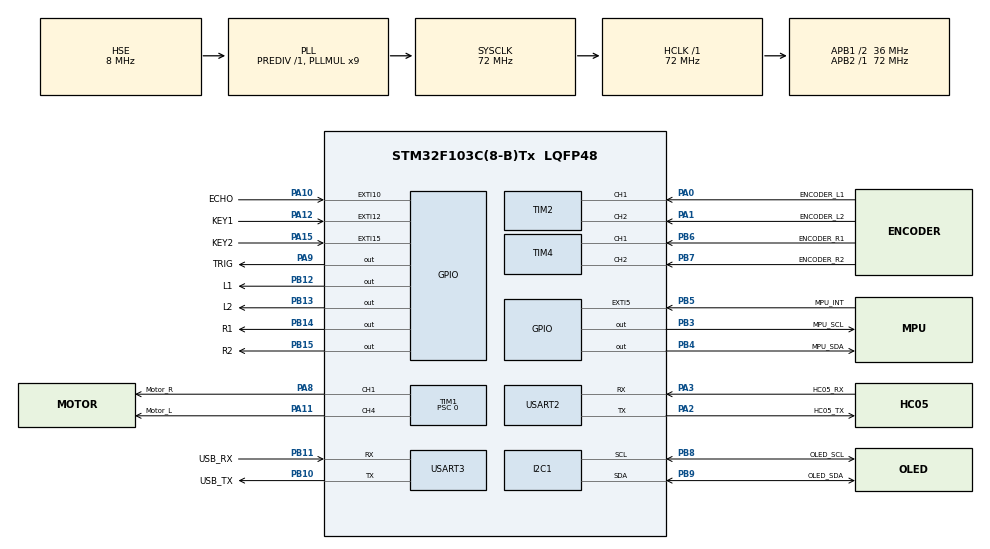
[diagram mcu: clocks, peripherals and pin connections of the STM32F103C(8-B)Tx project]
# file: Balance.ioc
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Dma.I2C1_TX.0.Direction=DMA_MEMORY_TO_PERIPH
Dma.I2C1_TX.0.Instance=DMA1_Channel6
Dma.I2C1_TX.0.MemDataAlignment=DMA_MDATAALIGN_BYTE
Dma.I2C1_TX.0.MemInc=DMA_MINC_ENABLE
Dma.I2C1_TX.0.Mode=DMA_NORMAL
Dma.I2C1_TX.0.PeriphDataAlignment=DMA_PDATAALIGN_BYTE
Dma.I2C1_TX.0.PeriphInc=DMA_PINC_DISABLE
Dma.I2C1_TX.0.Priority=DMA_PRIORITY_LOW
Dma.Request0=I2C1_TX
I2C1.I2C_Mode=I2C_Fast
Mcu.Family=STM32F1
Mcu.Name=STM32F103C(8-B)Tx
Mcu.Package=LQFP48
NVIC.DMA1_Channel6_IRQn=true\:1\:0\:true\:false\:true\:false\:true\:true
NVIC.EXTI15_10_IRQn=true\:1\:0\:true\:false\:true\:true\:true\:true
NVIC.EXTI9_5_IRQn=true\:1\:0\:true\:false\:true\:true\:true\:true
NVIC.I2C1_EV_IRQn=true\:1\:0\:true\:false\:true\:true\:true\:true
NVIC.PriorityGroup=NVIC_PRIORITYGROUP_4
NVIC.USART2_IRQn=true\:1\:0\:true\:false\:true\:true\:true\:true
NVIC.USART3_IRQn=true\:1\:0\:true\:false\:true\:true\:true\:true
PA0-WKUP.GPIO_Label=ENCODER_L1
PA0-WKUP.Signal=S_TIM2_CH1_ETR
PA1.GPIO_Label=ENCODER_L2
PA1.Signal=S_TIM2_CH2
PA10.GPIO_Label=ECHO
PA10.GPIO_ModeDefaultEXTI=GPIO_MODE_IT_RISING_FALLING
PA10.Signal=GPXTI10
PA11.GPIO_Label=Motor_L
PA11.Signal=S_TIM1_CH4
PA12.GPIO_Label=KEY1
PA12.GPIO_ModeDefaultEXTI=GPIO_MODE_IT_FALLING
PA12.GPIO_PuPd=GPIO_PULLUP
PA12.Signal=GPXTI12
PA13.Mode=Serial_Wire
PA13.Signal=SYS_JTMS-SWDIO
PA14.Mode=Serial_Wire
PA14.Signal=SYS_JTCK-SWCLK
PA15.GPIO_Label=KEY2
PA15.GPIO_ModeDefaultEXTI=GPIO_MODE_IT_FALLING
PA15.GPIO_PuPd=GPIO_PULLUP
PA15.Signal=GPXTI15
PA2.GPIO_Label=HC05_TX
PA2.Mode=Asynchronous
PA2.Signal=USART2_TX
PA3.GPIO_Label=HC05_RX
PA3.Mode=Asynchronous
PA3.Signal=USART2_RX
PA8.GPIO_Label=Motor_R
PA8.Signal=S_TIM1_CH1
PA9.GPIO_Label=TRIG
PA9.GPIO_Speed=GPIO_SPEED_FREQ_HIGH
PA9.Signal=GPIO_Output
PB10.GPIO_Label=USB_TX
PB10.Mode=Asynchronous
PB10.Signal=USART3_TX
PB11.GPIO_Label=USB_RX
PB11.Mode=Asynchronous
PB11.Signal=USART3_RX
PB12.GPIO_Label=L1
PB12.Signal=GPIO_Output
PB13.GPIO_Label=L2
PB13.Signal=GPIO_Output
PB14.GPIO_Label=R1
PB14.Signal=GPIO_Output
PB15.GPIO_Label=R2
PB15.Signal=GPIO_Output
PB3.GPIO_Label=MPU_SCL
PB3.GPIO_ModeDefaultOutputPP=GPIO_MODE_OUTPUT_OD
PB3.GPIO_PuPd=GPIO_NOPULL
PB3.GPIO_Speed=GPIO_SPEED_FREQ_HIGH
PB3.Signal=GPIO_Output
PB4.GPIO_Label=MPU_SDA
PB4.GPIO_ModeDefaultOutputPP=GPIO_MODE_OUTPUT_OD
PB4.GPIO_PuPd=GPIO_NOPULL
PB4.GPIO_Speed=GPIO_SPEED_FREQ_HIGH
PB4.Signal=GPIO_Output
PB5.GPIO_Label=MPU_INT
PB5.GPIO_ModeDefaultEXTI=GPIO_MODE_IT_FALLING
PB5.GPIO_PuPd=GPIO_PULLUP
PB5.Signal=GPXTI5
PB6.GPIO_Label=ENCODER_R1
PB6.Signal=S_TIM4_CH1
PB7.GPIO_Label=ENCODER_R2
PB7.Signal=S_TIM4_CH2
PB8.GPIO_Label=OLED_SCL
PB8.Mode=I2C
PB8.Signal=I2C1_SCL
PB9.GPIO_Label=OLED_SDA
PB9.Mode=I2C
PB9.Signal=I2C1_SDA
PD0-OSC_IN.Mode=HSE-External-Oscillator
PD0-OSC_IN.Signal=RCC_OSC_IN
PD1-OSC_OUT.Mode=HSE-External-Oscillator
PD1-OSC_OUT.Signal=RCC_OSC_OUT
ProjectManager.HeapSize=0x200
ProjectManager.StackSize=0x400
ProjectManager.TargetToolchain=STM32CubeIDE
RCC.AHBFreq_Value=72000000
RCC.APB1CLKDivider=RCC_HCLK_DIV2
RCC.APB1Freq_Value=36000000
RCC.APB1TimFreq_Value=72000000
RCC.APB2Freq_Value=72000000
RCC.APB2TimFreq_Value=72000000
RCC.HCLKFreq_Value=72000000
RCC.PLLMUL=RCC_PLL_MUL9
RCC.PLLSourceVirtual=RCC_PLLSOURCE_HSE
RCC.SYSCLKFreq_VALUE=72000000
RCC.SYSCLKSource=RCC_SYSCLKSOURCE_PLLCLK
RCC.USBFreq_Value=72000000
SH.S_TIM1_CH1.0=TIM1_CH1,PWM Generation1 CH1
SH.S_TIM1_CH4.0=TIM1_CH4,PWM Generation4 CH4
SH.S_TIM2_CH1_ETR.0=TIM2_CH1,Encoder_Interface
SH.S_TIM2_CH2.0=TIM2_CH2,Encoder_Interface
SH.S_TIM4_CH1.0=TIM4_CH1,Encoder_Interface
SH.S_TIM4_CH2.0=TIM4_CH2,Encoder_Interface
TIM1.Channel-PWM\ Generation1\ CH1=TIM_CHANNEL_1
TIM1.Channel-PWM\ Generation4\ CH4=TIM_CHANNEL_4
TIM1.OCMode_PWM-PWM\ Generation4\ CH4=TIM_OCMODE_PWM1
TIM1.Period=7199
TIM1.Prescaler=0
TIM1.Pulse-PWM\ Generation1\ CH1=7200
TIM1.Pulse-PWM\ Generation4\ CH4=7200
TIM2.EncoderMode=TIM_ENCODERMODE_TI12
TIM3.Prescaler=71
TIM4.EncoderMode=TIM_ENCODERMODE_TI12
USART2.VirtualMode=VM_ASYNC
USART3.VirtualMode=VM_ASYNC
VP_TIM1_VS_ClockSourceINT.Mode=Internal
VP_TIM3_VS_ClockSourceINT.Mode=Internal
board=custom

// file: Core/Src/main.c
/* USER CODE BEGIN Header */
/**
 ******************************************************************************
 * @file           : main.c
 * @brief          : Main program body
 ******************************************************************************
 * @attention
 *
 * Copyright (c) 2024 STMicroelectronics.
 * All rights reserved.
 *
 * This software is licensed under terms that can be found in the LICENSE file
 * in the root directory of this software component.
 * If no LICENSE file comes with this software, it is provided AS-IS.
 *
 ******************************************************************************
 */
/* USER CODE END Header */
#include "main.h"

/* USER CODE BEGIN Includes */
#include "stm32f1xx_it.h"
#include "oled.h"
#include "IIC.h"
#include "mpu6050.h"
#include "inv_mpu.h"
#include "inv_mpu_dmp_motion_driver.h"
#include "stdio.h"
#include "sr04.h"
#include "motor.h"
#include "encoder.h"
#include "pid.h"

/* USER CODE END Includes */

I2C_HandleTypeDef hi2c1;
DMA_HandleTypeDef hdma_i2c1_tx;

TIM_HandleTypeDef htim1;
TIM_HandleTypeDef htim2;
TIM_HandleTypeDef htim3;
TIM_HandleTypeDef htim4;

UART_HandleTypeDef huart2;
UART_HandleTypeDef huart3;

/* USER CODE BEGIN PV */
uint8_t display_buf[20];
uint8_t Frame, FPS;
uint8_t Rx_buffer[2];

OLED_Highlight Parameter_bling_state = Highlight_No;

// uint8_t return_NUM;

/* USER CODE END PV */

void SystemClock_Config(void);
static void MX_GPIO_Init(void);
static void MX_DMA_Init(void);
static void MX_TIM1_Init(void);
static void MX_TIM2_Init(void);
static void MX_USART2_UART_Init(void);
static void MX_USART3_UART_Init(void);
static void MX_TIM4_Init(void);
static void MX_I2C1_Init(void);
static void MX_TIM3_Init(void);

/* USER CODE BEGIN 0 */

void HAL_GPIO_EXTI_Callback(uint16_t GPIO_Pin)
{
  if (GPIO_Pin == ECHO_Pin)
  {
    ECHO_Callback();
  }
  else if (GPIO_Pin == KEY1_Pin)
  {
    switch (Balance_state)
    {
    case Balance_idle:
      PAGE_REFRESH_STATE = Refresh_REQUEST;
      Balance_state = Balance_running;
      break;
    case Balance_running:
      PAGE_REFRESH_STATE = Refresh_REQUEST;
      Balance_state = Balance_stop;
      break;
    case Balance_stop:
      PAGE_REFRESH_STATE = Refresh_REQUEST;
      Balance_state = Balance_running;
      break;
    default:
      PAGE_REFRESH_STATE = Refresh_REQUEST;
      Balance_state = Balance_idle;
    }
  }
  else if (GPIO_Pin == KEY2_Pin) // KEY2   motor test or display page switch
  {
    // duty_test();
    switch (OLED_PAGE_IDX)
    {
    case OLED_PAGE_Sensor:
      PAGE_REFRESH_STATE = Refresh_REQUEST;
      OLED_PAGE_IDX = OLED_PAGE_Parameter;
      break;
    case OLED_PAGE_Parameter:
      PAGE_REFRESH_STATE = Refresh_REQUEST;
      OLED_PAGE_IDX = OLED_PAGE_State;
      break;
    case OLED_PAGE_State:
      PAGE_REFRESH_STATE = Refresh_REQUEST;
      OLED_PAGE_IDX = OLED_PAGE_Sensor;
      break;
    }
  }
  else // GPIO_Pin == MPU_INT_Pin)
  {
    // Encoder_L = Get_Speed(&htim2);
    // Encoder_R = Get_Speed(&htim4);
    // do nothing.
    control();
  }
}
void HAL_IncTick(void)
{
  uwTick += uwTickFreq;
  if (uwTick % 1000 == 0)
  {
    if (Parameter_Bling_Enable == 1)
    {
      Parameter_bling_state = ~Parameter_bling_state;
    }
    FPS = Frame;
    Frame = 0;
  }
}

void Sensor_Display(void)
{
  sprintf((char *)display_buf, "FPS:%d ", FPS);
  OLED_ShowString(80, 0, display_buf, 8, Highlight_No);

  sprintf((char *)display_buf, "ENC_L:%d   ", Encoder_L);
  OLED_ShowString(0, 0, display_buf, 8, Highlight_No);
  sprintf((char *)display_buf, "ENC_R:%d   ", Encoder_R);
  OLED_ShowString(0, 1, display_buf, 8, Highlight_No);

  sprintf((char *)display_buf, "pitch:%.2f   ", pitch);
  OLED_ShowString(0, 2, display_buf, 8, Highlight_No);
  sprintf((char *)display_buf, "yaw:%.2f   ", yaw);
  OLED_ShowString(0, 3, display_buf, 8, Highlight_No);
  sprintf((char *)display_buf, "roll:%.2f   ", roll);
  OLED_ShowString(0, 4, display_buf, 8, Highlight_No);
  sprintf((char *)display_buf, "Distance:%.2f  ", distance);
  OLED_ShowString(0, 5, display_buf, 8, Highlight_No);

  sprintf((char *)display_buf, "GYRO_X:%.2f   ", (float)Gyro_X);
  OLED_ShowString(0, 6, display_buf, 8, Highlight_No);

  sprintf((char *)display_buf, "MODE:%d", Control_Mode);
  OLED_ShowString(80, 6, display_buf, 8, Highlight_No);
  // Balance state display HIGHLIGHT
  if (Balance_state == Balance_idle)
    OLED_ShowString(90, 7, "IDLE", 8, Highlight_No);
  else
    OLED_ShowString(80, 7, "RUNNING", 8, Highlight_No);
}

OLED_Highlight Highlight_OR_NOT(Parameter_CONFIG_SM Parameter_idx)
{
  if (Parameter_IDX == Parameter_idx)
  {
    if (Parameter_Bling_Enable)
    {
      return Parameter_bling_state;
    }
    else
      return Highlight_Yes;
  }
  else
    return Highlight_No;
}

void Parameter_Display(void)
{
  sprintf((char *)display_buf, "FPS:%d ", FPS);
  OLED_ShowString(80, 0, display_buf, 8, Highlight_No);

  sprintf((char *)display_buf, "Med:%.2f  ", Med_Angle); // show Med_Angle
  OLED_ShowString(0, 0, display_buf, 8, Highlight_OR_NOT(Parameter_Med_Angle));
  sprintf((char *)display_buf, "Verti_P:%.2f  ", Vertical_KP);
  OLED_ShowString(0, 1, display_buf, 8, Highlight_OR_NOT(Parameter_VERTI_P));
  sprintf((char *)display_buf, "Verti_D:%.2f  ", Vertical_KD);
  OLED_ShowString(0, 2, display_buf, 8, Highlight_OR_NOT(Parameter_VERTI_D));
  sprintf((char *)display_buf, "Veloc_P:%.2f  ", Velocity_KP);
  OLED_ShowString(0, 3, display_buf, 8, Highlight_OR_NOT(Parameter_VELOC_P));
  sprintf((char *)display_buf, "Veloc_I:%.2f  ", Velocity_KI);
  OLED_ShowString(0, 4, display_buf, 8, Highlight_OR_NOT(Parameter_VELOC_I));
  sprintf((char *)display_buf, "Turn_KP:%.2f  ", Turn_KP);
  OLED_ShowString(0, 5, display_buf, 8, Highlight_OR_NOT(Parameter_TURN_P));
  sprintf((char *)display_buf, "Turn_KD:%.2f  ", Turn_KD);
  OLED_ShowString(0, 6, display_buf, 8, Highlight_OR_NOT(Parameter_TURN_D));
  sprintf((char *)display_buf, "Med_yaw:%.2f  ", Med_Yaw);
  OLED_ShowString(0, 7, display_buf, 8, Highlight_OR_NOT(Parameter_Med_Yaw));

  sprintf((char *)display_buf, "MODE:%d", Control_Mode);
  OLED_ShowString(80, 6, display_buf, 8, Highlight_No);
  // Balance state display HIGHLIGHT
  if (Balance_state == Balance_idle)
    OLED_ShowString(90, 7, "IDLE", 8, Highlight_No);
  else
    OLED_ShowString(80, 7, "RUNNING", 8, Highlight_No);
}

void State_Display(void)
{
  sprintf((char *)display_buf, "FPS:%d ", FPS);
  OLED_ShowString(80, 0, display_buf, 8, Highlight_No);

  sprintf((char *)display_buf, "Verti:%.d   ", Vertical_Out);
  OLED_ShowString(0, 0, display_buf, 8, Highlight_No);
  sprintf((char *)display_buf, "Veloc:%d   ", Velocity_Out);
  OLED_ShowString(0, 1, display_buf, 8, Highlight_No);

  OLED_ShowString(80, 2, Rx_buffer, 16, Highlight_No); // show remote instruction
  sprintf((char *)display_buf, "Target_S:%d   ", Target_Speed);
  OLED_ShowString(0, 5, display_buf, 8, Highlight_No);

  sprintf((char *)display_buf, "MODE:%d", Control_Mode);
  OLED_ShowString(80, 6, display_buf, 8, Highlight_No);
  // if (Control_Mode == Mode_Move)//Remote control Mode display
  //   OLED_ShowString(90, 6, "Move", 8, Highlight_Yes);
  // else
  //   OLED_ShowString(80, 6, "Config", 8, Highlight_Yes);
  // Balance state display HIGHLIGHT
  if (Balance_state == Balance_idle)
    OLED_ShowString(90, 7, "IDLE", 8, Highlight_Yes);
  else
    OLED_ShowString(80, 7, "RUNNING", 8, Highlight_Yes);
}

/* USER CODE END 0 */

int main(void)
{

  /* MCU Configuration--------------------------------------------------------*/

  /* Reset of all peripherals, Initializes the Flash interface and the Systick. */
  HAL_Init();

  /* Configure the system clock */
  SystemClock_Config();

  /* Initialize all configured peripherals */
  MX_GPIO_Init();
  MX_DMA_Init();
  MX_TIM1_Init();
  MX_TIM2_Init();
  MX_USART2_UART_Init();
  MX_USART3_UART_Init();
  MX_TIM4_Init();
  MX_I2C1_Init();
  MX_TIM3_Init();
  /* USER CODE BEGIN 2 */
  OLED_Init();
  OLED_Clear();

  MPU_Init();
  mpu_dmp_init();
  // OLED_ShowString(0, 0, "Init success!", 16);
  HAL_NVIC_SetPriority(EXTI9_5_IRQn, 0, 0); // Enable PB5 interrupt after the mpu was initialized
  HAL_NVIC_EnableIRQ(EXTI9_5_IRQn);

  HAL_TIM_PWM_Start(&htim1, TIM_CHANNEL_1);
  HAL_TIM_PWM_Start(&htim1, TIM_CHANNEL_4);
  //  Duty_motor(-5000, 6000); //test motor
  HAL_TIM_Encoder_Start(&htim2, TIM_CHANNEL_ALL);
  HAL_TIM_Encoder_Start(&htim4, TIM_CHANNEL_ALL);

  HAL_UART_Receive_IT(&huart2, Rx_buffer, 1);
  /* USER CODE END 2 */

  /* Infinite loop */
  /* USER CODE BEGIN WHILE */
  while (1)
  {
    Distance_Trig();

    switch (OLED_PAGE_IDX)
    {
    case OLED_PAGE_Sensor:
      if (PAGE_REFRESH_STATE == Refresh_REQUEST) //  WHEN PAGE SWITCH OR KEY Variable change was detected ,  OLED need to be refresh
      {
        OLED_Clear();
        PAGE_REFRESH_STATE = Refresh_IDLE;
      }
      Sensor_Display();
      Frame++;
      break;

    case OLED_PAGE_Parameter:
      if (PAGE_REFRESH_STATE == Refresh_REQUEST) //  WHEN PAGE SWITCH OR KEY Variable change was detected ,  OLED need to be refresh
      {
        OLED_Clear();
        PAGE_REFRESH_STATE = Refresh_IDLE;
      }
      Parameter_Display();
      Frame++;
      break;

    case OLED_PAGE_State:
      if (PAGE_REFRESH_STATE == Refresh_REQUEST) //  WHEN PAGE SWITCH OR KEY Variable change was detected ,  OLED need to be refresh
      {
        OLED_Clear();
        PAGE_REFRESH_STATE = Refresh_IDLE;
      }
      State_Display();
      Frame++;
      break;
    }
    /* USER CODE END WHILE */

  }
}

void SystemClock_Config(void)
{
  RCC_OscInitTypeDef RCC_OscInitStruct = {0};
  RCC_ClkInitTypeDef RCC_ClkInitStruct = {0};

  /** Initializes the RCC Oscillators according to the specified parameters
   * in the RCC_OscInitTypeDef structure.
   */
  RCC_OscInitStruct.OscillatorType = RCC_OSCILLATORTYPE_HSE;
  RCC_OscInitStruct.HSEState = RCC_HSE_ON;
  RCC_OscInitStruct.HSEPredivValue = RCC_HSE_PREDIV_DIV1;
  RCC_OscInitStruct.HSIState = RCC_HSI_ON;
  RCC_OscInitStruct.PLL.PLLState = RCC_PLL_ON;
  RCC_OscInitStruct.PLL.PLLSource = RCC_PLLSOURCE_HSE;
  RCC_OscInitStruct.PLL.PLLMUL = RCC_PLL_MUL9;
  if (HAL_RCC_OscConfig(&RCC_OscInitStruct) != HAL_OK)
  {
    Error_Handler();
  }

  /** Initializes the CPU, AHB and APB buses clocks
   */
  RCC_ClkInitStruct.ClockType = RCC_CLOCKTYPE_HCLK | RCC_CLOCKTYPE_SYSCLK | RCC_CLOCKTYPE_PCLK1 | RCC_CLOCKTYPE_PCLK2;
  RCC_ClkInitStruct.SYSCLKSource = RCC_SYSCLKSOURCE_PLLCLK;
  RCC_ClkInitStruct.AHBCLKDivider = RCC_SYSCLK_DIV1;
  RCC_ClkInitStruct.APB1CLKDivider = RCC_HCLK_DIV2;
  RCC_ClkInitStruct.APB2CLKDivider = RCC_HCLK_DIV1;

  if (HAL_RCC_ClockConfig(&RCC_ClkInitStruct, FLASH_LATENCY_2) != HAL_OK)
  {
    Error_Handler();
  }
}

static void MX_I2C1_Init(void)
{

  hi2c1.Instance = I2C1;
  hi2c1.Init.ClockSpeed = 400000;
  hi2c1.Init.DutyCycle = I2C_DUTYCYCLE_2;
  hi2c1.Init.OwnAddress1 = 0;
  hi2c1.Init.AddressingMode = I2C_ADDRESSINGMODE_7BIT;
  hi2c1.Init.DualAddressMode = I2C_DUALADDRESS_DISABLE;
  hi2c1.Init.OwnAddress2 = 0;
  hi2c1.Init.GeneralCallMode = I2C_GENERALCALL_DISABLE;
  hi2c1.Init.NoStretchMode = I2C_NOSTRETCH_DISABLE;
  if (HAL_I2C_Init(&hi2c1) != HAL_OK)
  {
    Error_Handler();
  }
}

static void MX_TIM1_Init(void)
{

  TIM_ClockConfigTypeDef sClockSourceConfig = {0};
  TIM_MasterConfigTypeDef sMasterConfig = {0};
  TIM_OC_InitTypeDef sConfigOC = {0};
  TIM_BreakDeadTimeConfigTypeDef sBreakDeadTimeConfig = {0};

  htim1.Instance = TIM1;
  htim1.Init.Prescaler = 0;
  htim1.Init.CounterMode = TIM_COUNTERMODE_UP;
  htim1.Init.Period = 7199;
  htim1.Init.ClockDivision = TIM_CLOCKDIVISION_DIV1;
  htim1.Init.RepetitionCounter = 0;
  htim1.Init.AutoReloadPreload = TIM_AUTORELOAD_PRELOAD_DISABLE;
  if (HAL_TIM_Base_Init(&htim1) != HAL_OK)
  {
    Error_Handler();
  }
  sClockSourceConfig.ClockSource = TIM_CLOCKSOURCE_INTERNAL;
  if (HAL_TIM_ConfigClockSource(&htim1, &sClockSourceConfig) != HAL_OK)
  {
    Error_Handler();
  }
  if (HAL_TIM_PWM_Init(&htim1) != HAL_OK)
  {
    Error_Handler();
  }
  sMasterConfig.MasterOutputTrigger = TIM_TRGO_RESET;
  sMasterConfig.MasterSlaveMode = TIM_MASTERSLAVEMODE_DISABLE;
  if (HAL_TIMEx_MasterConfigSynchronization(&htim1, &sMasterConfig) != HAL_OK)
  {
    Error_Handler();
  }
  sConfigOC.OCMode = TIM_OCMODE_PWM1;
  sConfigOC.Pulse = 7200;
  sConfigOC.OCPolarity = TIM_OCPOLARITY_HIGH;
  sConfigOC.OCNPolarity = TIM_OCNPOLARITY_HIGH;
  sConfigOC.OCFastMode = TIM_OCFAST_DISABLE;
  sConfigOC.OCIdleState = TIM_OCIDLESTATE_RESET;
  sConfigOC.OCNIdleState = TIM_OCNIDLESTATE_RESET;
  if (HAL_TIM_PWM_ConfigChannel(&htim1, &sConfigOC, TIM_CHANNEL_1) != HAL_OK)
  {
    Error_Handler();
  }
  if (HAL_TIM_PWM_ConfigChannel(&htim1, &sConfigOC, TIM_CHANNEL_4) != HAL_OK)
  {
    Error_Handler();
  }
  sBreakDeadTimeConfig.OffStateRunMode = TIM_OSSR_DISABLE;
  sBreakDeadTimeConfig.OffStateIDLEMode = TIM_OSSI_DISABLE;
  sBreakDeadTimeConfig.LockLevel = TIM_LOCKLEVEL_OFF;
  sBreakDeadTimeConfig.DeadTime = 0;
  sBreakDeadTimeConfig.BreakState = TIM_BREAK_DISABLE;
  sBreakDeadTimeConfig.BreakPolarity = TIM_BREAKPOLARITY_HIGH;
  sBreakDeadTimeConfig.AutomaticOutput = TIM_AUTOMATICOUTPUT_DISABLE;
  if (HAL_TIMEx_ConfigBreakDeadTime(&htim1, &sBreakDeadTimeConfig) != HAL_OK)
  {
    Error_Handler();
  }
  HAL_TIM_MspPostInit(&htim1);
}

static void MX_TIM2_Init(void)
{

  TIM_Encoder_InitTypeDef sConfig = {0};
  TIM_MasterConfigTypeDef sMasterConfig = {0};

  htim2.Instance = TIM2;
  htim2.Init.Prescaler = 0;
  htim2.Init.CounterMode = TIM_COUNTERMODE_UP;
  htim2.Init.Period = 65535;
  htim2.Init.ClockDivision = TIM_CLOCKDIVISION_DIV1;
  htim2.Init.AutoReloadPreload = TIM_AUTORELOAD_PRELOAD_DISABLE;
  sConfig.EncoderMode = TIM_ENCODERMODE_TI12;
  sConfig.IC1Polarity = TIM_ICPOLARITY_RISING;
  sConfig.IC1Selection = TIM_ICSELECTION_DIRECTTI;
  sConfig.IC1Prescaler = TIM_ICPSC_DIV1;
  sConfig.IC1Filter = 0;
  sConfig.IC2Polarity = TIM_ICPOLARITY_RISING;
  sConfig.IC2Selection = TIM_ICSELECTION_DIRECTTI;
  sConfig.IC2Prescaler = TIM_ICPSC_DIV1;
  sConfig.IC2Filter = 0;
  if (HAL_TIM_Encoder_Init(&htim2, &sConfig) != HAL_OK)
  {
    Error_Handler();
  }
  sMasterConfig.MasterOutputTrigger = TIM_TRGO_RESET;
  sMasterConfig.MasterSlaveMode = TIM_MASTERSLAVEMODE_DISABLE;
  if (HAL_TIMEx_MasterConfigSynchronization(&htim2, &sMasterConfig) != HAL_OK)
  {
    Error_Handler();
  }
}

static void MX_TIM3_Init(void)
{

  TIM_ClockConfigTypeDef sClockSourceConfig = {0};
  TIM_MasterConfigTypeDef sMasterConfig = {0};

  htim3.Instance = TIM3;
  htim3.Init.Prescaler = 71;
  htim3.Init.CounterMode = TIM_COUNTERMODE_UP;
  htim3.Init.Period = 65535;
  htim3.Init.ClockDivision = TIM_CLOCKDIVISION_DIV1;
  htim3.Init.AutoReloadPreload = TIM_AUTORELOAD_PRELOAD_DISABLE;
  if (HAL_TIM_Base_Init(&htim3) != HAL_OK)
  {
    Error_Handler();
  }
  sClockSourceConfig.ClockSource = TIM_CLOCKSOURCE_INTERNAL;
  if (HAL_TIM_ConfigClockSource(&htim3, &sClockSourceConfig) != HAL_OK)
  {
    Error_Handler();
  }
  sMasterConfig.MasterOutputTrigger = TIM_TRGO_RESET;
  sMasterConfig.MasterSlaveMode = TIM_MASTERSLAVEMODE_DISABLE;
  if (HAL_TIMEx_MasterConfigSynchronization(&htim3, &sMasterConfig) != HAL_OK)
  {
    Error_Handler();
  }
}

static void MX_TIM4_Init(void)
{

  TIM_Encoder_InitTypeDef sConfig = {0};
  TIM_MasterConfigTypeDef sMasterConfig = {0};

  htim4.Instance = TIM4;
  htim4.Init.Prescaler = 0;
  htim4.Init.CounterMode = TIM_COUNTERMODE_UP;
  htim4.Init.Period = 65535;
  htim4.Init.ClockDivision = TIM_CLOCKDIVISION_DIV1;
  htim4.Init.AutoReloadPreload = TIM_AUTORELOAD_PRELOAD_DISABLE;
  sConfig.EncoderMode = TIM_ENCODERMODE_TI12;
  sConfig.IC1Polarity = TIM_ICPOLARITY_RISING;
  sConfig.IC1Selection = TIM_ICSELECTION_DIRECTTI;
  sConfig.IC1Prescaler = TIM_ICPSC_DIV1;
  sConfig.IC1Filter = 0;
  sConfig.IC2Polarity = TIM_ICPOLARITY_RISING;
  sConfig.IC2Selection = TIM_ICSELECTION_DIRECTTI;
  sConfig.IC2Prescaler = TIM_ICPSC_DIV1;
  sConfig.IC2Filter = 0;
  if (HAL_TIM_Encoder_Init(&htim4, &sConfig) != HAL_OK)
  {
    Error_Handler();
  }
  sMasterConfig.MasterOutputTrigger = TIM_TRGO_RESET;
  sMasterConfig.MasterSlaveMode = TIM_MASTERSLAVEMODE_DISABLE;
  if (HAL_TIMEx_MasterConfigSynchronization(&htim4, &sMasterConfig) != HAL_OK)
  {
    Error_Handler();
  }
}

static void MX_USART2_UART_Init(void)
{

  huart2.Instance = USART2;
  huart2.Init.BaudRate = 115200;
  huart2.Init.WordLength = UART_WORDLENGTH_8B;
  huart2.Init.StopBits = UART_STOPBITS_1;
  huart2.Init.Parity = UART_PARITY_NONE;
  huart2.Init.Mode = UART_MODE_TX_RX;
  huart2.Init.HwFlowCtl = UART_HWCONTROL_NONE;
  huart2.Init.OverSampling = UART_OVERSAMPLING_16;
  if (HAL_UART_Init(&huart2) != HAL_OK)
  {
    Error_Handler();
  }
}

static void MX_USART3_UART_Init(void)
{

  huart3.Instance = USART3;
  huart3.Init.BaudRate = 115200;
  huart3.Init.WordLength = UART_WORDLENGTH_8B;
  huart3.Init.StopBits = UART_STOPBITS_1;
  huart3.Init.Parity = UART_PARITY_NONE;
  huart3.Init.Mode = UART_MODE_TX_RX;
  huart3.Init.HwFlowCtl = UART_HWCONTROL_NONE;
  huart3.Init.OverSampling = UART_OVERSAMPLING_16;
  if (HAL_UART_Init(&huart3) != HAL_OK)
  {
    Error_Handler();
  }
}

static void MX_DMA_Init(void)
{

  /* DMA controller clock enable */
  __HAL_RCC_DMA1_CLK_ENABLE();

  /* DMA interrupt init */
  /* DMA1_Channel6_IRQn interrupt configuration */
  HAL_NVIC_SetPriority(DMA1_Channel6_IRQn, 1, 0);
  HAL_NVIC_EnableIRQ(DMA1_Channel6_IRQn);
}

static void MX_GPIO_Init(void)
{
  GPIO_InitTypeDef GPIO_InitStruct = {0};

  /* GPIO Ports Clock Enable */
  __HAL_RCC_GPIOD_CLK_ENABLE();
  __HAL_RCC_GPIOA_CLK_ENABLE();
  __HAL_RCC_GPIOB_CLK_ENABLE();

  /*Configure GPIO pin Output Level */
  HAL_GPIO_WritePin(GPIOB, L1_Pin | L2_Pin | R1_Pin | R2_Pin | MPU_SCL_Pin | MPU_SDA_Pin, GPIO_PIN_RESET);

  /*Configure GPIO pin Output Level */
  HAL_GPIO_WritePin(TRIG_GPIO_Port, TRIG_Pin, GPIO_PIN_RESET);

  /*Configure GPIO pins : L1_Pin L2_Pin R1_Pin R2_Pin */
  GPIO_InitStruct.Pin = L1_Pin | L2_Pin | R1_Pin | R2_Pin;
  GPIO_InitStruct.Mode = GPIO_MODE_OUTPUT_PP;
  GPIO_InitStruct.Pull = GPIO_NOPULL;
  GPIO_InitStruct.Speed = GPIO_SPEED_FREQ_LOW;
  HAL_GPIO_Init(GPIOB, &GPIO_InitStruct);

  /*Configure GPIO pin : TRIG_Pin */
  GPIO_InitStruct.Pin = TRIG_Pin;
  GPIO_InitStruct.Mode = GPIO_MODE_OUTPUT_PP;
  GPIO_InitStruct.Pull = GPIO_NOPULL;
  GPIO_InitStruct.Speed = GPIO_SPEED_FREQ_HIGH;
  HAL_GPIO_Init(TRIG_GPIO_Port, &GPIO_InitStruct);

  /*Configure GPIO pin : ECHO_Pin */
  GPIO_InitStruct.Pin = ECHO_Pin;
  GPIO_InitStruct.Mode = GPIO_MODE_IT_RISING_FALLING;
  GPIO_InitStruct.Pull = GPIO_NOPULL;
  HAL_GPIO_Init(ECHO_GPIO_Port, &GPIO_InitStruct);

  /*Configure GPIO pins : KEY1_Pin KEY2_Pin */
  GPIO_InitStruct.Pin = KEY1_Pin | KEY2_Pin;
  GPIO_InitStruct.Mode = GPIO_MODE_IT_FALLING;
  GPIO_InitStruct.Pull = GPIO_PULLUP;
  HAL_GPIO_Init(GPIOA, &GPIO_InitStruct);

  /*Configure GPIO pins : MPU_SCL_Pin MPU_SDA_Pin */
  GPIO_InitStruct.Pin = MPU_SCL_Pin | MPU_SDA_Pin;
  GPIO_InitStruct.Mode = GPIO_MODE_OUTPUT_OD;
  GPIO_InitStruct.Pull = GPIO_NOPULL;
  GPIO_InitStruct.Speed = GPIO_SPEED_FREQ_HIGH;
  HAL_GPIO_Init(GPIOB, &GPIO_InitStruct);

  /*Configure GPIO pin : MPU_INT_Pin */
  GPIO_InitStruct.Pin = MPU_INT_Pin;
  GPIO_InitStruct.Mode = GPIO_MODE_IT_FALLING;
  GPIO_InitStruct.Pull = GPIO_PULLUP;
  HAL_GPIO_Init(MPU_INT_GPIO_Port, &GPIO_InitStruct);

  /* EXTI interrupt init*/
  //  HAL_NVIC_SetPriority(EXTI9_5_IRQn, 1, 0);
  //  HAL_NVIC_EnableIRQ(EXTI9_5_IRQn);

  HAL_NVIC_SetPriority(EXTI15_10_IRQn, 1, 0);
  HAL_NVIC_EnableIRQ(EXTI15_10_IRQn);

}

/* USER CODE BEGIN 4 */
void duty_test()
{
  if (duty > 0)
  {
    duty += 1000;
    if (duty > 7200)
    {
      duty = 0;
    }
  }
  else
  {
    duty -= 1000;
    if (duty < -7200)
    {
      duty = 0;
    }
  }
  Duty_motor(duty, duty);
}
/* USER CODE END 4 */

void Error_Handler(void)
{
  __disable_irq();
  while (1)
  {
  }
}
